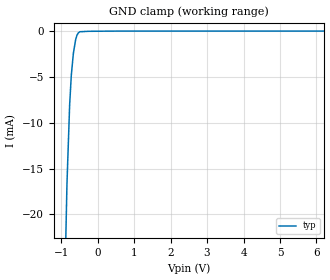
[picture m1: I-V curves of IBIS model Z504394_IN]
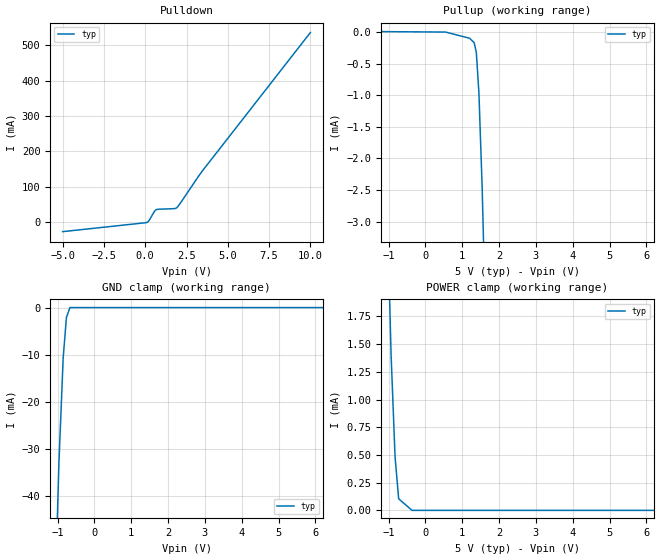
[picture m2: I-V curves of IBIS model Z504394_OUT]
| YOU ARE ONLY AUTHORIZED TO USE THIS SOFTWARE
| ACCORDING TO LICENSOR'S LICENSE RESTRICTIONS.
[IBIS Ver] 3.1
[File Name] sn54ls163aj.ibs
[File Rev] 2.0
[Source] Measured and created by ICX Technology
[Date] Friday 7/14/00 9:08:13 AM
[Copyright]
| (C) COPYRIGHT 1993-2000
| MENTOR GRAPHICS CORPORATION
| ICX STANDARD LIBRARY, ICX PROJECT MODELING,
| ICX CUSTOM MODELING, ICX VENDOR MODEL
| ALL RIGHTS RESERVED.
| THE FOLLOWING ARE TRADEMARKS OR SERVICE MARKS OF
| MENTOR GRAPHICS CORPORATION:ICX (R), ICX STANDARD
| LIBRARY(R), ICX PROJECT MODELING(R), ICX CUSTOM
| MODELING(R), qualityIBIS(TM), MODELVIEWER(TM),
| AND MODELEDITOR(TM)
| ALL COPIES OF SOFTWARE, INCLUDING BUT NOT LIMITED TO
| ANY MODIFICATIONS, ENHANCEMENTS OR DERIVATIVE WORKS,
| MUST CONTAIN ALL MENTOR GRAPHICS CORPORATION'S
| NOTICES AND LEGENDS, INCLUDING THOSE EMBEDDED IN
| SOFTWARE AND THOSE AFFIXED TO SOFTWARE MEDIUM
| AND CONTAINER, AS RECEIVED FROM MENTOR GRAPHICS
| CORPORATION.
|  ZAP Model Builder 2.7
[Component] SN54LS163AJ
[Manufacturer] OnSemiconductor
[Package]
| variable   typ   min   max
R_pkg  .212ohms NA NA
L_pkg  4.758nH NA NA
C_pkg  1.944pF NA NA
[Pin] signal_name  model_name  R_pin  L_pin C_pin
1 _CLR Z504394_IN .224 7.258n 2.683p
2 CLK Z504394_IN .216 5.258n 2.19p
3 A Z504394_IN .208 3.758n 1.697p
4 B Z504394_IN .2 2.758n 1.204p
5 C Z504394_IN .2 2.758n 1.204p
6 D Z504394_IN .208 3.758n 1.697p
7 ENP Z504394_IN .216 5.258n 2.19p
8 GND GND .224 7.258n 2.683p
9 _LOAD Z504394_IN .224 7.258n 2.683p
10 ENT Z504394_IN .216 5.258n 2.19p
11 QD Z504394_OUT .208 3.758n 1.697p
12 QC Z504394_OUT .2 2.758n 1.204p
13 QB Z504394_OUT .2 2.758n 1.204p
14 QA Z504394_OUT .208 3.758n 1.697p
15 RCO Z504394_OUT .216 5.258n 2.19p
16 VCC POWER .224 7.258n 2.683p
| Models and submodels in the file (2): Z504394_IN (Input), Z504394_OUT (Output)
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| (C) COPYRIGHT 1993-2000
| MENTOR GRAPHICS CORPORATION
| ICX STANDARD LIBRARY, ICX PROJECT MODELING,
| ICX CUSTOM MODELING, ICX VENDOR MODEL
| ALL RIGHTS RESERVED.
| THE FOLLOWING ARE TRADEMARKS OR SERVICE MARKS OF
| MENTOR GRAPHICS CORPORATION:ICX (R), ICX STANDARD
| LIBRARY(R), ICX PROJECT MODELING(R), ICX CUSTOM
| MODELING(R), qualityIBIS(TM), MODELVIEWER(TM),
| AND MODELEDITOR(TM)
| ALL COPIES OF SOFTWARE, INCLUDING BUT NOT LIMITED TO
| ANY MODIFICATIONS, ENHANCEMENTS OR DERIVATIVE WORKS,
| MUST CONTAIN ALL MENTOR GRAPHICS CORPORATION'S
| NOTICES AND LEGENDS, INCLUDING THOSE EMBEDDED IN
| SOFTWARE AND THOSE AFFIXED TO SOFTWARE MEDIUM
| AND CONTAINER, AS RECEIVED FROM MENTOR GRAPHICS
| CORPORATION.
| Model Application Version 1.89 2/18/99.
[Model] Z504394_IN
Model_type Input
Vinl = 800.0mV
Vinh = 2.000V
C_comp 4.000pF NA NA
| variable typ   min   max
[Voltage Range] 5.000V NA NA
[GND Clamp Reference] 0.000V NA NA
[POWER Clamp Reference] 5.000V NA NA
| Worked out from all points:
|   GND clamp passes 1 mA (typ) near -0.60 V on its own axis
[GND Clamp]
-5V       -790.8mA   NA         NA
-839.8mV  -16.69mA   NA         NA
-766.4mV  -8.056mA   NA         NA
-721.1mV  -4.829mA   NA         NA
-663.2mV  -2.392mA   NA         NA
-600.5mV  -896.9uA   NA         NA
-566.2mV  -445.8uA   NA         NA
-527.8mV  -183uA     NA         NA
-486.1mV  -60.16uA   NA         NA
-243mV    -12.15uA   NA         NA
590.6mV   11.16uA    NA         NA
10V       11.16uA    NA         NA
[POWER Clamp]
-5V       0A         NA         NA
10V       0A         NA         NA
| (C) COPYRIGHT 1993-2000
| MENTOR GRAPHICS CORPORATION
| ICX STANDARD LIBRARY, ICX PROJECT MODELING,
| ICX CUSTOM MODELING, ICX VENDOR MODEL
| ALL RIGHTS RESERVED.
| THE FOLLOWING ARE TRADEMARKS OR SERVICE MARKS OF
| MENTOR GRAPHICS CORPORATION:ICX (R), ICX STANDARD
| LIBRARY(R), ICX PROJECT MODELING(R), ICX CUSTOM
| MODELING(R), qualityIBIS(TM), MODELVIEWER(TM),
| AND MODELEDITOR(TM)
| ALL COPIES OF SOFTWARE, INCLUDING BUT NOT LIMITED TO
| ANY MODIFICATIONS, ENHANCEMENTS OR DERIVATIVE WORKS,
| MUST CONTAIN ALL MENTOR GRAPHICS CORPORATION'S
| NOTICES AND LEGENDS, INCLUDING THOSE EMBEDDED IN
| SOFTWARE AND THOSE AFFIXED TO SOFTWARE MEDIUM
| AND CONTAINER, AS RECEIVED FROM MENTOR GRAPHICS
| CORPORATION.
| Model Application Version 1.89 2/18/99.
[Model] Z504394_OUT
Model_type Output
Vref=5.000V
Rref=2.000kohms
Cref=15.00pF
Vmeas=1.300V
C_comp 8.000pF NA NA
| variable typ   min   max
[Voltage Range] 5.000V NA NA
[POWER Clamp Reference] 5.000V NA NA
[Pullup Reference] 5.000V NA NA
[Pulldown Reference] 0.000V NA NA
[GND Clamp Reference] 0.000V NA NA
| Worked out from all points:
|   slope of the pulldown table from 0 to 0.75 V, typ, clamps not added: 19.7 ohm
|   slope of the pullup table from 0 to 0.75 V, typ, clamps not added: 22.9 kohm
|   GND clamp passes 1 mA (typ) near -0.71 V on its own axis
|   POWER clamp passes 1 mA (typ) near -0.89 V on its own axis
[GND Clamp]
-5V       -1.352A    NA         NA
-1.104V   -70.75mA   NA         NA
-966.1mV  -33.06mA   NA         NA
-849.5mV  -10.66mA   NA         NA
-761.7mV  -2.113mA   NA         NA
-666.5mV  0A         NA         NA
10V       0A         NA         NA
[Pulldown]
-5V       -26.68mA   NA         NA
48.83mV   -1.335mA   NA         NA
186.7mV   2.192mA    NA         NA
556.6mV   30.58mA    NA         NA
687.3mV   35.9mA     NA         NA
1.764V    38.45mA    NA         NA
1.899V    40.71mA    NA         NA
2.124V    53.74mA    NA         NA
3.478V    146.1mA    NA         NA
10V       536.2mA    NA         NA
[Pullup]
-5V       25.13uA    NA         NA
547mV     2.578uA    NA         NA
1.202V    -96.14uA   NA         NA
1.323V    -165.3uA   NA         NA
1.382V    -317.5uA   NA         NA
1.452V    -956.8uA   NA         NA
1.54V     -2.453mA   NA         NA
10V       -198mA     NA         NA
[POWER Clamp]
-5V       62.24mA    NA         NA
-1.094V   3.435mA    NA         NA
-933mV    1.408mA    NA         NA
-825mV    485.1uA    NA         NA
-727mV    104.2uA    NA         NA
-363.5mV  0A         NA         NA
10V       0A         NA         NA
[Ramp]
| variable typ min max
dV/dt_r 1.899/7.641n NA NA
dV/dt_f 1.899/2.959n NA NA
R_load = 500.0Ohms
